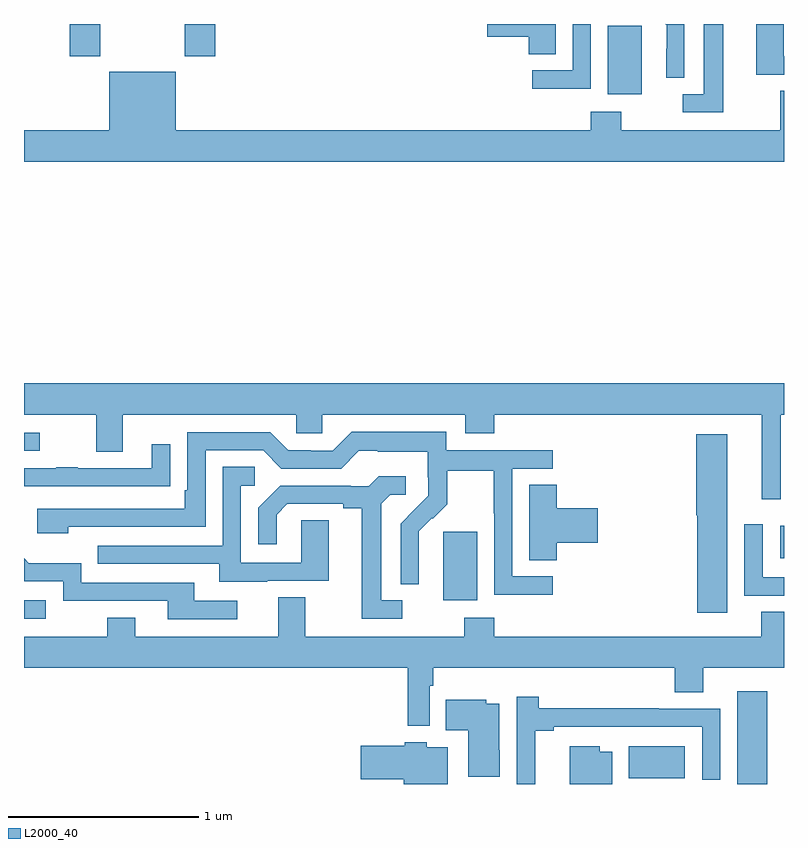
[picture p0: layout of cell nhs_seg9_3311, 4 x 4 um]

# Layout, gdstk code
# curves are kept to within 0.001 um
import gdstk
lib = gdstk.Library(unit=1e-6, precision=1e-09)
def R(c, l, rs):  # rectangles x0, y0, x1, y1
    for r in rs: c.add(gdstk.rectangle(r[:2], r[2:], *l))
def P(c, l, *ps):  # polygons
    for p in ps: c.add(gdstk.Polygon(p, *l))
L2000_40 = (2000, 40)

nhs_seg9_3311 = lib.new_cell('nhs_seg9_3311')
R(nhs_seg9_3311, L2000_40, [(304.754,1170.5,304.913,1170.988), (304.184,1170.53,304.477,1170.7), (301,1171.371,301.114,1171.467), (303.206,1171.466,303.385,1171.827), (304.979,1171.688,305,1171.858), (301,1172.253,301.084,1172.349), (304.073,1174.13,304.252,1174.491), (301.241,1174.329,301.401,1174.5), (301.846,1174.329,302.006,1174.5)])
P(nhs_seg9_3311, L2000_40, [(305,1174.329),(304.998,1174.329),(304.998,1174.5),(304.853,1174.5),(304.853,1174.233),(305,1174.233)],
  [(304.476,1174.5),(304.375,1174.5),(304.382,1174.493),(304.382,1174.37),(304.38,1174.37),(304.38,1174.216),(304.476,1174.216)],
  [(303.984,1174.5),(303.888,1174.5),(303.888,1174.257),(303.675,1174.257),(303.675,1174.159),(303.984,1174.159)],
  [(303.799,1174.5),(303.438,1174.5),(303.438,1174.433),(303.656,1174.433),(303.656,1174.342),(303.799,1174.342)],
  [(304.681,1174.5),(304.577,1174.5),(304.577,1174.131),(304.467,1174.131),(304.467,1174.035),(304.681,1174.035)],
  [(305,1174.148),(304.979,1174.148),(304.979,1173.94),(304.143,1173.94),(304.143,1174.039),(303.983,1174.039),(303.983,1173.94),(301.798,1173.94),(301.798,1174.249),(301.448,1174.249),(301.448,1173.94),(301,1173.94),(301,1173.776),(305,1173.776)],
  [(304.982,1172.444),(305,1172.444),(305,1172.608),(301,1172.608),(301,1172.444),(301.379,1172.444),(301.379,1172.25),(301.519,1172.25),(301.519,1172.444),(302.433,1172.444),(302.433,1172.346),(302.571,1172.346),(302.571,1172.444),(303.323,1172.444),(303.323,1172.345),(303.476,1172.345),(303.476,1172.444),(304.883,1172.444),(304.883,1171.998),(304.982,1171.998)],
  [(303.784,1171.593),(303.57,1171.593),(303.57,1172.16),(303.784,1172.16),(303.784,1172.256),(303.222,1172.256),(303.222,1172.353),(302.725,1172.353),(302.625,1172.253),(302.51,1172.253),(302.51,1172.256),(302.391,1172.256),(302.295,1172.352),(301.86,1172.352),(301.86,1172.047),(301.847,1172.047),(301.847,1171.95),(301.071,1171.95),(301.071,1171.82),(301.232,1171.82),(301.232,1171.854),(301.956,1171.854),(301.956,1172.256),(302.259,1172.256),(302.355,1172.16),(302.67,1172.16),(302.763,1172.253),(302.863,1172.253),(302.863,1172.249),(303.126,1172.249),(303.126,1172.115),(303.128,1172.115),(303.128,1172.018),(302.982,1171.87),(302.982,1171.552),(303.078,1171.552),(303.077,1171.829),(303.147,1171.899),(303.15,1171.896),(303.227,1171.973),(303.227,1172.148),(303.472,1172.148),(303.472,1171.924),(303.474,1171.924),(303.474,1171.495),(303.784,1171.495)],
  [(304.702,1172.341),(304.538,1172.341),(304.538,1171.914),(304.544,1171.914),(304.544,1171.401),(304.702,1171.401)],
  [(301.667,1172.068),(301.769,1172.068),(301.769,1172.287),(301.673,1172.287),(301.673,1172.163),(301.283,1172.163),(301.283,1172.168),(301.171,1172.168),(301.171,1172.163),(301,1172.163),(301,1172.067),(301.667,1172.067)],
  [(302.281,1171.569),(302.605,1171.569),(302.605,1171.889),(302.46,1171.889),(302.46,1171.665),(302.142,1171.665),(302.142,1172.07),(302.215,1172.07),(302.215,1172.171),(302.046,1172.171),(302.046,1171.755),(301.387,1171.755),(301.387,1171.659),(302.027,1171.659),(302.027,1171.565),(302.281,1171.565)],
  [(302.992,1171.467),(302.881,1171.467),(302.881,1171.975),(302.928,1172.022),(303.01,1172.022),(303.01,1172.119),(302.866,1172.119),(302.814,1172.067),(302.72,1172.067),(302.72,1172.07),(302.348,1172.07),(302.232,1171.954),(302.232,1171.761),(302.329,1171.761),(302.329,1171.917),(302.386,1171.974),(302.681,1171.974),(302.681,1171.952),(302.777,1171.952),(302.777,1171.371),(302.992,1171.371)],
  [(303.803,1171.769),(304.021,1171.769),(304.021,1171.952),(303.803,1171.952),(303.803,1172.075),(303.659,1172.075),(303.659,1171.678),(303.803,1171.678)],
  [(305,1171.587),(304.887,1171.587),(304.887,1171.867),(304.791,1171.867),(304.791,1171.491),(305,1171.491)],
  [(302.122,1171.464),(301.897,1171.464),(301.897,1171.56),(301.302,1171.56),(301.302,1171.663),(301.025,1171.663),(301,1171.688),(301,1171.566),(301.206,1171.566),(301.206,1171.464),(301.757,1171.464),(301.757,1171.368),(302.122,1171.368)],
  [(303.135,1171.016),(303.155,1171.016),(303.155,1171.112),(304.424,1171.112),(304.424,1170.982),(304.576,1170.982),(304.576,1171.112),(305,1171.112),(305,1171.406),(304.88,1171.406),(304.88,1171.276),(303.476,1171.276),(303.476,1171.375),(303.316,1171.375),(303.316,1171.276),(302.479,1171.276),(302.479,1171.484),(302.339,1171.484),(302.339,1171.276),(301.585,1171.276),(301.585,1171.375),(301.438,1171.375),(301.438,1171.276),(301,1171.276),(301,1171.112),(303.019,1171.112),(303.019,1170.806),(303.135,1170.806)],
  [(303.692,1170.781),(303.787,1170.781),(303.787,1170.801),(304.569,1170.801),(304.569,1170.522),(304.665,1170.522),(304.665,1170.897),(304.34,1170.897),(304.34,1170.899),(303.71,1170.899),(303.71,1170.958),(303.594,1170.958),(303.594,1170.5),(303.692,1170.5)],
  [(303.505,1170.678),(303.502,1170.678),(303.502,1170.922),(303.432,1170.922),(303.432,1170.943),(303.22,1170.943),(303.22,1170.782),(303.338,1170.782),(303.338,1170.538),(303.505,1170.538)],
  [(303.229,1170.694),(303.12,1170.694),(303.12,1170.721),(303.003,1170.721),(303.003,1170.702),(302.772,1170.702),(302.772,1170.524),(302.999,1170.524),(302.999,1170.5),(303.229,1170.5)],
  [(304.096,1170.67),(304.03,1170.67),(304.03,1170.7),(303.872,1170.7),(303.872,1170.5),(304.096,1170.5)])

lib.write_gds('nhs_seg9_3311.gds')
